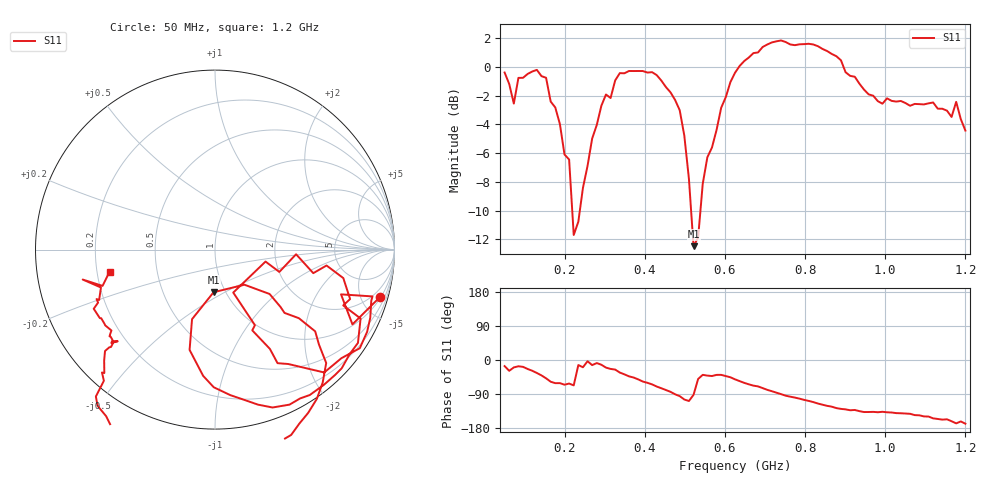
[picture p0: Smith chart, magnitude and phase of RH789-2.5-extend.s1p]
# HZ S RI R 50
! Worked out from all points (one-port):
!   101 points, 50 MHz to 1.2 GHz, reference 50 ohm
!   lowest |S11| = -12.5 dB at 521.5 MHz (marker M1), VSWR 1.62, Z = 44 - j22.2 ohm
!   |S11| at or under -10 dB: 218.8 MHz to 237.8 MHz (18.99 MHz wide, 8.32 % of centre); 515.4 MHz to 538.8 MHz (23.32 MHz wide, 4.42 % of centre)
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5e7  0.9178 -0.2657
6.15e7  0.7658 -0.4167
7.3e7  0.7022 -0.2493
8.45e7  0.8776 -0.2608
9.6e7  0.8707 -0.2846
1.305e8  0.8068 -0.5493
1.535e8  0.6086 -0.6847
1.65e8  0.4086 -0.6375
1.995e8  0.2077 -0.4499
2.11e8  0.2224 -0.421
2.225e8  0.1016 -0.2394
2.34e8  0.2815 -0.0667
2.57e8  0.4518 -0.0259
2.915e8  0.7149 -0.1588
3.375e8  0.7965 -0.5196
4.295e8  0.3207 -0.8797
4.87e8  -0.0659 -0.7036
5.1e8  -0.1279 -0.3875
5.215e8  -0.00799 -0.2377
5.445e8  0.3041 -0.2473
6.25e8  0.5999 -0.741
7.055e8  0.2335 -1.173
7.745e8  -0.1902 -1.174
8.55e8  -0.5846 -0.9726
9.125e8  -0.6297 -0.6847
1.062e9  -0.5769 -0.4509
1.177e9  -0.737 -0.1668
1.2e9  -0.5875 -0.1233
